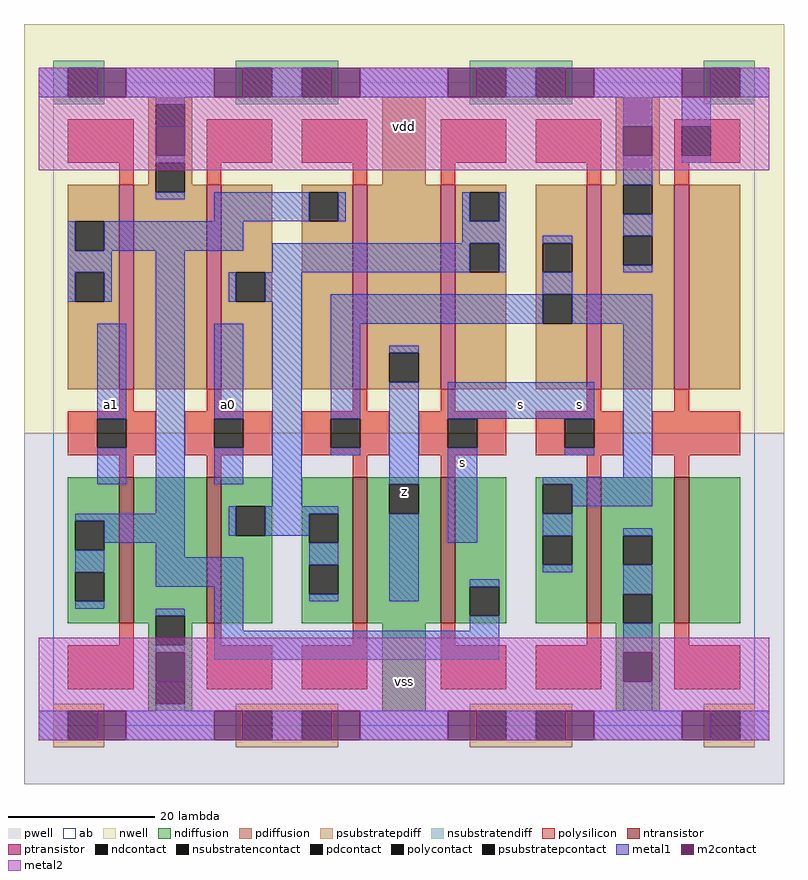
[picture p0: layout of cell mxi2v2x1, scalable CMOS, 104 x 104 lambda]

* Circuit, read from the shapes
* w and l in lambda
.subckt mxi2v2x1 a0 a1 s vdd vss z
M1 vss a1 n1 vss nfet w=20 l=2
M2 n2 a0 vss vss nfet w=20 l=2
M3 z n3 n2 vss nfet w=20 l=2
M4 n1 s z vss nfet w=20 l=2
M5 vss s n3 vss nfet w=20 l=2
M6 n4 vdd vss vss nfet w=20 l=2
M7 vdd a1 n1 vdd pfet w=28 l=2
M8 n2 a0 vdd vdd pfet w=28 l=2
M9 z n3 n1 vdd pfet w=28 l=2
M10 n2 s z vdd pfet w=28 l=2
M11 vdd s n3 vdd pfet w=28 l=2
M12 n5 vdd vdd vdd pfet w=28 l=2
.ends

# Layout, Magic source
magic
tech scmos
<< ab >>
rect 0 0 96 88
<< pwell >>
rect -4 -8 100 40
<< nwell >>
rect -4 40 100 96
<< polysilicon >>
rect 2 77 11 83
rect 9 74 11 77
rect 21 77 30 83
rect 34 77 43 83
rect 21 74 23 77
rect 41 74 43 77
rect 53 77 62 83
rect 66 77 75 83
rect 53 74 55 77
rect 73 74 75 77
rect 85 82 94 83
rect 85 78 86 82
rect 90 78 94 82
rect 85 77 94 78
rect 85 74 87 77
rect 9 43 11 46
rect 21 43 23 46
rect 41 43 43 46
rect 53 43 55 46
rect 73 43 75 46
rect 85 43 87 46
rect 2 42 14 43
rect 2 38 6 42
rect 10 38 14 42
rect 2 37 14 38
rect 18 42 30 43
rect 18 38 22 42
rect 26 38 30 42
rect 18 37 30 38
rect 34 42 46 43
rect 34 38 38 42
rect 42 38 46 42
rect 34 37 46 38
rect 50 42 62 43
rect 50 38 54 42
rect 58 38 62 42
rect 50 37 62 38
rect 66 42 78 43
rect 66 38 70 42
rect 74 38 78 42
rect 66 37 78 38
rect 82 37 94 43
rect 9 34 11 37
rect 21 34 23 37
rect 41 34 43 37
rect 53 34 55 37
rect 73 34 75 37
rect 85 34 87 37
rect 9 11 11 14
rect 2 5 11 11
rect 21 11 23 14
rect 41 11 43 14
rect 21 5 30 11
rect 34 5 43 11
rect 53 11 55 14
rect 73 11 75 14
rect 53 5 62 11
rect 66 5 75 11
rect 85 11 87 14
rect 85 5 94 11
<< ndiffusion >>
rect 2 28 9 34
rect 2 24 3 28
rect 7 24 9 28
rect 2 21 9 24
rect 2 17 3 21
rect 7 17 9 21
rect 2 14 9 17
rect 11 15 21 34
rect 11 14 14 15
rect 13 11 14 14
rect 18 14 21 15
rect 23 30 30 34
rect 23 26 25 30
rect 29 26 30 30
rect 23 14 30 26
rect 34 29 41 34
rect 34 25 35 29
rect 39 25 41 29
rect 34 22 41 25
rect 34 18 35 22
rect 39 18 41 22
rect 34 14 41 18
rect 43 33 53 34
rect 43 29 46 33
rect 50 29 53 33
rect 43 14 53 29
rect 55 19 62 34
rect 55 15 57 19
rect 61 15 62 19
rect 55 14 62 15
rect 66 33 73 34
rect 66 29 67 33
rect 71 29 73 33
rect 66 26 73 29
rect 66 22 67 26
rect 71 22 73 26
rect 66 14 73 22
rect 75 26 85 34
rect 75 22 78 26
rect 82 22 85 26
rect 75 18 85 22
rect 75 14 78 18
rect 82 14 85 18
rect 87 14 94 34
rect 18 11 19 14
rect 13 6 19 11
rect 13 3 14 6
rect 18 3 19 6
rect 13 2 19 3
rect 45 2 51 14
rect 77 2 83 14
<< pdiffusion >>
rect 13 85 19 86
rect 13 82 14 85
rect 18 82 19 85
rect 13 77 19 82
rect 13 74 14 77
rect 2 69 9 74
rect 2 65 3 69
rect 7 65 9 69
rect 2 62 9 65
rect 2 58 3 62
rect 7 58 9 62
rect 2 46 9 58
rect 11 73 14 74
rect 18 74 19 77
rect 45 74 51 86
rect 77 74 83 86
rect 18 73 21 74
rect 11 46 21 73
rect 23 62 30 74
rect 23 58 25 62
rect 29 58 30 62
rect 23 46 30 58
rect 34 73 41 74
rect 34 69 35 73
rect 39 69 41 73
rect 34 46 41 69
rect 43 51 53 74
rect 43 47 46 51
rect 50 47 53 51
rect 43 46 53 47
rect 55 73 62 74
rect 55 69 57 73
rect 61 69 62 73
rect 55 66 62 69
rect 55 62 57 66
rect 61 62 62 66
rect 55 46 62 62
rect 66 66 73 74
rect 66 62 67 66
rect 71 62 73 66
rect 66 59 73 62
rect 66 55 67 59
rect 71 55 73 59
rect 66 46 73 55
rect 75 70 78 74
rect 82 70 85 74
rect 75 67 85 70
rect 75 63 78 67
rect 82 63 85 67
rect 75 46 85 63
rect 87 46 94 74
<< metal1 >>
rect -2 86 2 90
rect 10 86 22 90
rect 30 86 34 90
rect 42 86 54 90
rect 62 86 66 90
rect 74 86 86 90
rect 94 86 98 90
rect 14 85 18 86
rect 14 77 18 78
rect 78 82 82 86
rect 78 74 82 78
rect 86 82 90 86
rect 86 77 90 78
rect 14 72 18 73
rect 22 69 35 73
rect 39 69 40 73
rect 56 69 57 73
rect 61 69 62 73
rect 2 65 3 69
rect 7 65 26 69
rect 56 66 62 69
rect 78 67 82 70
rect 2 62 8 65
rect 2 58 3 62
rect 7 58 8 62
rect 6 42 10 55
rect 6 33 10 38
rect 14 29 18 65
rect 30 62 57 66
rect 61 62 62 66
rect 67 66 71 67
rect 78 62 82 63
rect 24 58 25 62
rect 29 58 34 62
rect 67 59 71 62
rect 22 42 26 55
rect 22 33 26 38
rect 30 30 34 58
rect 38 55 67 59
rect 71 55 82 59
rect 38 42 42 55
rect 38 37 42 38
rect 46 51 50 52
rect 46 33 50 47
rect 3 28 18 29
rect 7 25 18 28
rect 24 26 25 30
rect 29 29 39 30
rect 29 26 35 29
rect 3 21 7 24
rect 14 23 18 25
rect 14 19 26 23
rect 3 16 7 17
rect 14 15 18 16
rect 14 10 18 11
rect 22 13 26 19
rect 35 22 39 25
rect 35 17 39 18
rect 46 17 50 29
rect 54 42 74 47
rect 54 25 58 38
rect 70 37 74 38
rect 78 34 82 55
rect 67 33 82 34
rect 71 30 82 33
rect 67 26 71 29
rect 67 21 71 22
rect 78 26 82 27
rect 57 19 61 20
rect 57 13 61 15
rect 22 9 61 13
rect 78 18 82 22
rect 78 10 82 14
rect 14 2 18 3
rect 78 2 82 6
rect -2 -2 2 2
rect 10 -2 22 2
rect 30 -2 34 2
rect 42 -2 54 2
rect 62 -2 66 2
rect 74 -2 86 2
rect 94 -2 98 2
<< metal2 >>
rect -2 86 6 90
rect 10 86 22 90
rect 26 86 38 90
rect 42 86 54 90
rect 58 86 70 90
rect 74 86 86 90
rect 90 86 98 90
rect -2 82 98 86
rect -2 78 14 82
rect 18 78 78 82
rect 82 78 98 82
rect -2 76 98 78
rect -2 10 98 12
rect -2 6 14 10
rect 18 6 78 10
rect 82 6 98 10
rect -2 2 98 6
rect -2 -2 6 2
rect 10 -2 22 2
rect 26 -2 38 2
rect 42 -2 54 2
rect 58 -2 70 2
rect 74 -2 86 2
rect 90 -2 98 2
<< ntransistor >>
rect 9 14 11 34
rect 21 14 23 34
rect 41 14 43 34
rect 53 14 55 34
rect 73 14 75 34
rect 85 14 87 34
<< ptransistor >>
rect 9 46 11 74
rect 21 46 23 74
rect 41 46 43 74
rect 53 46 55 74
rect 73 46 75 74
rect 85 46 87 74
<< polycontact >>
rect 86 78 90 82
rect 6 38 10 42
rect 22 38 26 42
rect 38 38 42 42
rect 54 38 58 42
rect 70 38 74 42
<< ndcontact >>
rect 3 24 7 28
rect 3 17 7 21
rect 14 11 18 15
rect 25 26 29 30
rect 35 25 39 29
rect 35 18 39 22
rect 46 29 50 33
rect 57 15 61 19
rect 67 29 71 33
rect 67 22 71 26
rect 78 22 82 26
rect 78 14 82 18
rect 14 3 18 6
<< pdcontact >>
rect 14 82 18 85
rect 3 65 7 69
rect 3 58 7 62
rect 14 73 18 77
rect 25 58 29 62
rect 35 69 39 73
rect 46 47 50 51
rect 57 69 61 73
rect 57 62 61 66
rect 67 62 71 66
rect 67 55 71 59
rect 78 70 82 74
rect 78 63 82 67
<< m2contact >>
rect 6 86 10 90
rect 22 86 26 90
rect 38 86 42 90
rect 54 86 58 90
rect 70 86 74 90
rect 86 86 90 90
rect 14 78 18 82
rect 78 78 82 82
rect 14 6 18 10
rect 78 6 82 10
rect 6 -2 10 2
rect 22 -2 26 2
rect 38 -2 42 2
rect 54 -2 58 2
rect 70 -2 74 2
rect 86 -2 90 2
<< psubstratepcontact >>
rect 2 -2 6 2
rect 26 -2 30 2
rect 34 -2 38 2
rect 58 -2 62 2
rect 66 -2 70 2
rect 90 -2 94 2
<< nsubstratencontact >>
rect 2 86 6 90
rect 26 86 30 90
rect 34 86 38 90
rect 58 86 62 90
rect 66 86 70 90
rect 90 86 94 90
<< psubstratepdiff >>
rect 0 2 7 3
rect 25 2 39 3
rect 57 2 71 3
rect 89 2 96 3
rect 0 -2 2 2
rect 6 -2 7 2
rect 0 -3 7 -2
rect 25 -2 26 2
rect 30 -2 34 2
rect 38 -2 39 2
rect 25 -3 39 -2
rect 57 -2 58 2
rect 62 -2 66 2
rect 70 -2 71 2
rect 57 -3 71 -2
rect 89 -2 90 2
rect 94 -2 96 2
rect 89 -3 96 -2
<< nsubstratendiff >>
rect 0 90 7 91
rect 0 86 2 90
rect 6 86 7 90
rect 25 90 39 91
rect 25 86 26 90
rect 30 86 34 90
rect 38 86 39 90
rect 57 90 71 91
rect 57 86 58 90
rect 62 86 66 90
rect 70 86 71 90
rect 89 90 96 91
rect 89 86 90 90
rect 94 86 96 90
rect 0 85 7 86
rect 25 85 39 86
rect 57 85 71 86
rect 89 85 96 86
<< labels >>
rlabel metal1 8 44 8 44 6 a1
rlabel metal1 24 44 24 44 6 a0
rlabel ndcontact 48 32 48 32 6 z
rlabel metal1 56 36 56 36 6 s
rlabel metal1 64 44 64 44 6 s
rlabel metal1 72 44 72 44 6 s
rlabel metal2 48 6 48 6 6 vss
rlabel metal2 48 82 48 82 6 vdd
<< end >>
